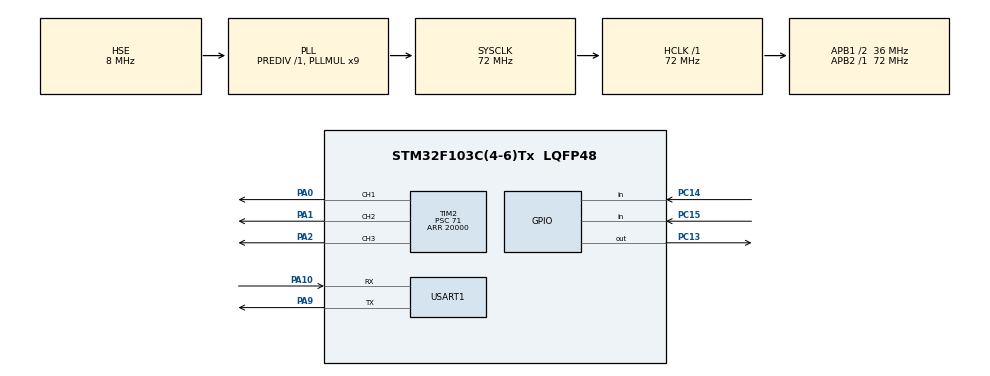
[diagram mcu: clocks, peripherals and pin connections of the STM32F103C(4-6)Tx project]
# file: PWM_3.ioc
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Mcu.Family=STM32F1
Mcu.Name=STM32F103C(4-6)Tx
Mcu.Package=LQFP48
NVIC.PriorityGroup=NVIC_PRIORITYGROUP_4
NVIC.TIM2_IRQn=true\:0\:0\:false\:false\:true\:true\:true
NVIC.USART1_IRQn=true\:0\:0\:false\:false\:true\:true\:true
PA0-WKUP.Signal=S_TIM2_CH1_ETR
PA1.Signal=S_TIM2_CH2
PA10.Mode=Asynchronous
PA10.Signal=USART1_RX
PA13.Mode=Serial_Wire
PA13.Signal=SYS_JTMS-SWDIO
PA14.Mode=Serial_Wire
PA14.Signal=SYS_JTCK-SWCLK
PA2.Signal=S_TIM2_CH3
PA9.Mode=Asynchronous
PA9.Signal=USART1_TX
PC13-TAMPER-RTC.GPIO_ModeDefaultOutputPP=GPIO_MODE_OUTPUT_PP
PC13-TAMPER-RTC.GPIO_PuPd=GPIO_NOPULL
PC13-TAMPER-RTC.Signal=GPIO_Output
PC14-OSC32_IN.Signal=GPIO_Input
PC15-OSC32_OUT.Signal=GPIO_Input
PD0-OSC_IN.Mode=HSE-External-Oscillator
PD0-OSC_IN.Signal=RCC_OSC_IN
PD1-OSC_OUT.Mode=HSE-External-Oscillator
PD1-OSC_OUT.Signal=RCC_OSC_OUT
ProjectManager.HeapSize=0x200
ProjectManager.StackSize=0x400
ProjectManager.TargetToolchain=MDK-ARM V5.32
RCC.AHBFreq_Value=72000000
RCC.APB1CLKDivider=RCC_HCLK_DIV2
RCC.APB1Freq_Value=36000000
RCC.APB1TimFreq_Value=72000000
RCC.APB2Freq_Value=72000000
RCC.APB2TimFreq_Value=72000000
RCC.HCLKFreq_Value=72000000
RCC.PLLMUL=RCC_PLL_MUL9
RCC.PLLSourceVirtual=RCC_PLLSOURCE_HSE
RCC.SYSCLKFreq_VALUE=72000000
RCC.SYSCLKSource=RCC_SYSCLKSOURCE_PLLCLK
RCC.USBFreq_Value=72000000
SH.S_TIM2_CH1_ETR.0=TIM2_CH1,PWM Generation1 CH1
SH.S_TIM2_CH2.0=TIM2_CH2,PWM Generation2 CH2
SH.S_TIM2_CH3.0=TIM2_CH3,PWM Generation3 CH3
TIM2.Channel-PWM\ Generation1\ CH1=TIM_CHANNEL_1
TIM2.Channel-PWM\ Generation2\ CH2=TIM_CHANNEL_2
TIM2.Channel-PWM\ Generation3\ CH3=TIM_CHANNEL_3
TIM2.Period=20000
TIM2.Prescaler=71
TIM2.Pulse-PWM\ Generation1\ CH1=1000
TIM2.Pulse-PWM\ Generation2\ CH2=1000
TIM2.Pulse-PWM\ Generation3\ CH3=1000
USART1.VirtualMode=VM_ASYNC
VP_TIM2_VS_ClockSourceINT.Mode=Internal
board=custom

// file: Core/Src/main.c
/* USER CODE BEGIN Header */
/**
  ******************************************************************************
  * @file           : main.c
  * @brief          : Main program body
  ******************************************************************************
  * @attention
  *
  * Copyright (c) 2022 STMicroelectronics.
  * All rights reserved.
  *
  * This software is licensed under terms that can be found in the LICENSE file
  * in the root directory of this software component.
  * If no LICENSE file comes with this software, it is provided AS-IS.
  *
  ******************************************************************************
  */
/* USER CODE END Header */
#include "main.h"

/* USER CODE BEGIN Includes */
#include "servomotor.h"
/* USER CODE END Includes */

/* USER CODE BEGIN PTD */
#include <stdio.h>
/* USER CODE END PTD */

TIM_HandleTypeDef htim2;

UART_HandleTypeDef huart1;

/* USER CODE BEGIN PV */
uint8_t buf_uplevel[10];
uint8_t *p_buf;
uint8_t count_byte_received = 0;
uint8_t buf_payload[10];
extern uint8_t gotAll;
char key_str[] = "knf";
int bufL = 8; //knf0 - knf180 '13' + '10' + 1  // max lehght received str  knf0$0d$0a - knf999$0d$0a
char key_str_compare[10] = "";
int pwm_servo_knife_int = 0;
uint8_t buff[16] = {0,};
uint8_t ventil_pin_1_state  = 0;
uint8_t ventil_pin_2_state  = 0;
uint8_t ventil_pin_1_old_state  = 0;
uint8_t ventil_pin_2_old_state  = 0;
/* USER CODE END PV */

void SystemClock_Config(void);
static void MX_GPIO_Init(void);
static void MX_TIM2_Init(void);
static void MX_USART1_UART_Init(void);

/* USER CODE BEGIN 0 */
int a, b , c= -1;
/* USER CODE END 0 */

int main(void)
{

  /* MCU Configuration--------------------------------------------------------*/

  /* Reset of all peripherals, Initializes the Flash interface and the Systick. */
  HAL_Init();

  /* Configure the system clock */
  SystemClock_Config();

  /* Initialize all configured peripherals */
  MX_GPIO_Init();
  MX_TIM2_Init();
  MX_USART1_UART_Init();
	USART1->CR1 |= USART_CR1_RXNEIE;
  /* USER CODE BEGIN 2 */
	servo_t servo1;
	servo_t servo2;
	servo_t servo3_knife;

	a = servo_init(&servo1, &htim2, TIM_CHANNEL_1);
	b = servo_init(&servo2, &htim2, TIM_CHANNEL_2);
	c = servo_init(&servo3_knife, &htim2, TIM_CHANNEL_3);

	servo_set_limit(&servo1, 5, 90);
	servo_set_limit(&servo2, 15, 90);
	servo_set_limit(&servo3_knife, 0, 180);

	servo_set_position(&servo1, 5); // open
	servo_set_position(&servo2, 15); // open
	servo_set_position(&servo3_knife, 15); // open

  HAL_UART_Receive_IT(&huart1,(uint8_t*)buff,10);
	//__HAL_UART_ENABLE_IT(&huart1, UART_IT_IDLE);
  /* USER CODE END 2 */

  /* Infinite loop */
  while (1)
  {

    /* USER CODE BEGIN 3 */
		ventil_pin_1_state = HAL_GPIO_ReadPin(GPIOC, GPIO_PIN_14);
		ventil_pin_2_state = HAL_GPIO_ReadPin(GPIOC, GPIO_PIN_15);
		if (ventil_pin_1_state) servo_set_position(&servo1, 90); // close ventil 1
			else servo_set_position(&servo1, 5);  // open ventil 1
		if (ventil_pin_2_state) servo_set_position(&servo2, 90); // close ventil 2
			else servo_set_position(&servo2, 15);  // open ventil 2
		if ((ventil_pin_1_old_state != ventil_pin_1_state) || (ventil_pin_2_old_state != ventil_pin_2_state)) HAL_GPIO_TogglePin(GPIOC,GPIO_PIN_13);
		ventil_pin_1_old_state = ventil_pin_1_state;
		ventil_pin_2_old_state = ventil_pin_2_state;

		if (gotAll){
			strncpy(key_str_compare, buf_uplevel, 3);
			key_str_compare[4] = 0;
			if (strcmp(key_str_compare, key_str) == 0) {
					if (((count_byte_received == 4) && (buf_uplevel[3] > 47) && (buf_uplevel[3] <58)) ||
					    ((count_byte_received == 5) && (buf_uplevel[3] > 47) && (buf_uplevel[3] <58) && (buf_uplevel[4] > 47) && (buf_uplevel[4] <58))  ||
					    ((count_byte_received == 6) && (buf_uplevel[3] > 47) && (buf_uplevel[3] <58) && (buf_uplevel[4] > 47) && (buf_uplevel[4] <58) && (buf_uplevel[5] > 47) && (buf_uplevel[5] <58)))
					{   // is digit
					p_buf = buf_uplevel;
					if (count_byte_received >3) {
						strncpy(buf_payload, p_buf + 3, count_byte_received - 3);
						buf_payload[count_byte_received - 3] = 0;
						pwm_servo_knife_int = atoi(buf_payload);
						servo_set_position(&servo3_knife, pwm_servo_knife_int); //
						HAL_GPIO_TogglePin(GPIOC,GPIO_PIN_13);
					}
				}
			}
			gotAll = 0;
			count_byte_received = 0;
		}
	}
  /* USER CODE END 3 */
}

void SystemClock_Config(void)
{
  RCC_OscInitTypeDef RCC_OscInitStruct = {0};
  RCC_ClkInitTypeDef RCC_ClkInitStruct = {0};

  /** Initializes the RCC Oscillators according to the specified parameters
  * in the RCC_OscInitTypeDef structure.
  */
  RCC_OscInitStruct.OscillatorType = RCC_OSCILLATORTYPE_HSE;
  RCC_OscInitStruct.HSEState = RCC_HSE_ON;
  RCC_OscInitStruct.HSEPredivValue = RCC_HSE_PREDIV_DIV1;
  RCC_OscInitStruct.HSIState = RCC_HSI_ON;
  RCC_OscInitStruct.PLL.PLLState = RCC_PLL_ON;
  RCC_OscInitStruct.PLL.PLLSource = RCC_PLLSOURCE_HSE;
  RCC_OscInitStruct.PLL.PLLMUL = RCC_PLL_MUL9;
  if (HAL_RCC_OscConfig(&RCC_OscInitStruct) != HAL_OK)
  {
    Error_Handler();
  }
  /** Initializes the CPU, AHB and APB buses clocks
  */
  RCC_ClkInitStruct.ClockType = RCC_CLOCKTYPE_HCLK|RCC_CLOCKTYPE_SYSCLK
                              |RCC_CLOCKTYPE_PCLK1|RCC_CLOCKTYPE_PCLK2;
  RCC_ClkInitStruct.SYSCLKSource = RCC_SYSCLKSOURCE_PLLCLK;
  RCC_ClkInitStruct.AHBCLKDivider = RCC_SYSCLK_DIV1;
  RCC_ClkInitStruct.APB1CLKDivider = RCC_HCLK_DIV2;
  RCC_ClkInitStruct.APB2CLKDivider = RCC_HCLK_DIV1;

  if (HAL_RCC_ClockConfig(&RCC_ClkInitStruct, FLASH_LATENCY_2) != HAL_OK)
  {
    Error_Handler();
  }
}

static void MX_TIM2_Init(void)
{

  TIM_ClockConfigTypeDef sClockSourceConfig = {0};
  TIM_MasterConfigTypeDef sMasterConfig = {0};
  TIM_OC_InitTypeDef sConfigOC = {0};

  htim2.Instance = TIM2;
  htim2.Init.Prescaler = 71;
  htim2.Init.CounterMode = TIM_COUNTERMODE_UP;
  htim2.Init.Period = 20000;
  htim2.Init.ClockDivision = TIM_CLOCKDIVISION_DIV1;
  htim2.Init.AutoReloadPreload = TIM_AUTORELOAD_PRELOAD_DISABLE;
  if (HAL_TIM_Base_Init(&htim2) != HAL_OK)
  {
    Error_Handler();
  }
  sClockSourceConfig.ClockSource = TIM_CLOCKSOURCE_INTERNAL;
  if (HAL_TIM_ConfigClockSource(&htim2, &sClockSourceConfig) != HAL_OK)
  {
    Error_Handler();
  }
  if (HAL_TIM_PWM_Init(&htim2) != HAL_OK)
  {
    Error_Handler();
  }
  sMasterConfig.MasterOutputTrigger = TIM_TRGO_RESET;
  sMasterConfig.MasterSlaveMode = TIM_MASTERSLAVEMODE_DISABLE;
  if (HAL_TIMEx_MasterConfigSynchronization(&htim2, &sMasterConfig) != HAL_OK)
  {
    Error_Handler();
  }
  sConfigOC.OCMode = TIM_OCMODE_PWM1;
  sConfigOC.Pulse = 1000;
  sConfigOC.OCPolarity = TIM_OCPOLARITY_HIGH;
  sConfigOC.OCFastMode = TIM_OCFAST_DISABLE;
  if (HAL_TIM_PWM_ConfigChannel(&htim2, &sConfigOC, TIM_CHANNEL_1) != HAL_OK)
  {
    Error_Handler();
  }
  if (HAL_TIM_PWM_ConfigChannel(&htim2, &sConfigOC, TIM_CHANNEL_2) != HAL_OK)
  {
    Error_Handler();
  }
  if (HAL_TIM_PWM_ConfigChannel(&htim2, &sConfigOC, TIM_CHANNEL_3) != HAL_OK)
  {
    Error_Handler();
  }
  HAL_TIM_MspPostInit(&htim2);

}

static void MX_USART1_UART_Init(void)
{

  huart1.Instance = USART1;
  huart1.Init.BaudRate = 115200;
  huart1.Init.WordLength = UART_WORDLENGTH_8B;
  huart1.Init.StopBits = UART_STOPBITS_1;
  huart1.Init.Parity = UART_PARITY_NONE;
  huart1.Init.Mode = UART_MODE_TX_RX;
  huart1.Init.HwFlowCtl = UART_HWCONTROL_NONE;
  huart1.Init.OverSampling = UART_OVERSAMPLING_16;
  if (HAL_UART_Init(&huart1) != HAL_OK)
  {
    Error_Handler();
  }

}

static void MX_GPIO_Init(void)
{
  GPIO_InitTypeDef GPIO_InitStruct = {0};

  /* GPIO Ports Clock Enable */
  __HAL_RCC_GPIOC_CLK_ENABLE();
  __HAL_RCC_GPIOD_CLK_ENABLE();
  __HAL_RCC_GPIOA_CLK_ENABLE();

  /*Configure GPIO pin Output Level */
  HAL_GPIO_WritePin(GPIOC, GPIO_PIN_13, GPIO_PIN_RESET);

  /*Configure GPIO pin : PC13 */
  GPIO_InitStruct.Pin = GPIO_PIN_13;
  GPIO_InitStruct.Mode = GPIO_MODE_OUTPUT_PP;
  GPIO_InitStruct.Pull = GPIO_NOPULL;
  GPIO_InitStruct.Speed = GPIO_SPEED_FREQ_LOW;
  HAL_GPIO_Init(GPIOC, &GPIO_InitStruct);

  /*Configure GPIO pins : PC14 PC15 */
  GPIO_InitStruct.Pin = GPIO_PIN_14|GPIO_PIN_15;
  GPIO_InitStruct.Mode = GPIO_MODE_INPUT;
  GPIO_InitStruct.Pull = GPIO_NOPULL;
  HAL_GPIO_Init(GPIOC, &GPIO_InitStruct);

}

void Error_Handler(void)
{
  __disable_irq();
  while (1)
  {
  }
}
